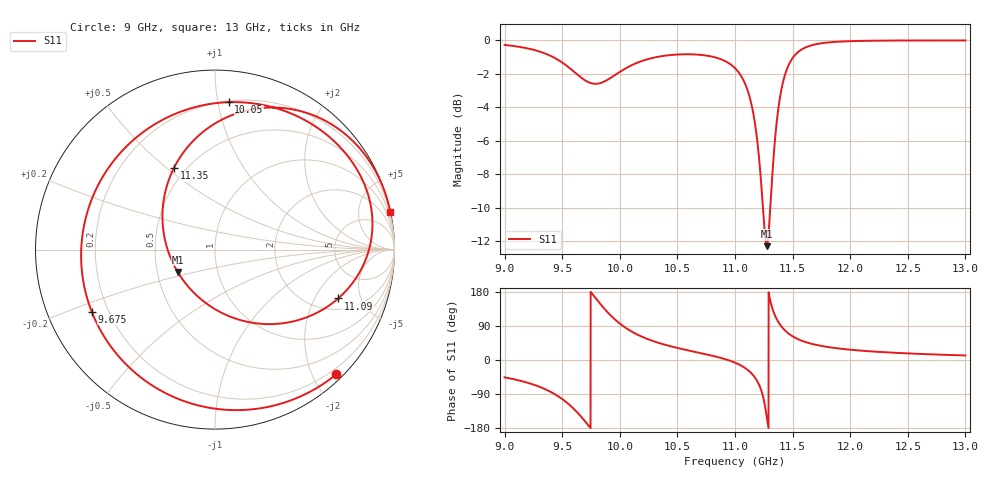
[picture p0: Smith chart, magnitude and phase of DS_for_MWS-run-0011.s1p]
! TOUCHSTONE file generated by CST DESIGN STUDIO
! Date and time: Wed Feb  5 13:36:22 2025
! Project name: C:\Work\MatlabApps\UnitCellOptimizationMatlab\CST\unitcell.cst
! Tree item: Tasks\Sweep1\SPara1\S-Parameters
! Header version: 2024
! Port assignment regex: !\s*Touchstone port\s*([0-9]+)\s*=\s*(CST MWS port|CST DES external port|CST DES block port)\s*(.+)\s* \(\"(.*)\"\)(\s*mode\s*([0-9]+))?.*
! Touchstone port assignment:
! Touchstone port 1 = CST DES external port 1 ("")
# GHz S MA R 50
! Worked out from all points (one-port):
!   4001 points, 9 GHz to 13 GHz, reference 50 ohm
!   lowest |S11| = -12.3 dB at 11.28 GHz (marker M1), VSWR 1.64, Z = 31.9 - j8.51 ohm
!   |S11| at or under -10 dB: 11.24 GHz to 11.31 GHz (64.23 MHz wide, 0.57 % of centre)
!   S11 on the Smith chart (normalised r, x): 9 GHz: 0.10, -2.36; 9.675 GHz: 0.14, -0.23; 10.05 GHz: 0.21, +1.08; 11.09 GHz: 2.64, -3.16; 11.35 GHz: 0.43, +0.53; 13 GHz: 0.03, +9.53
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9  0.969 -45.8
9.273  0.9327 -67.3
9.403  0.8976 -84.7
9.5  0.8585 -103.0
9.588  0.8136 -125.3
9.675  0.769 -153.3
9.741  0.7465 -177.9
9.807  0.742 156.8
9.903  0.7656 123.1
10  0.8047 96.2
10.052  0.825 84.7
10.25  0.88 54.2
10.5  0.9071 31.8
10.788  0.8959 12.3
11  0.8258 -7.0
11.09  0.7384 -21.6
11.148  0.6318 -36.9
11.202  0.4701 -60.9
11.239  0.3278 -91.2
11.275  0.2423 -148.8
11.311  0.3361 150.5
11.348  0.5087 116.8
11.413  0.7406 84.8
11.5  0.8853 62.5
11.682  0.9701 41.5
12  0.9944 27.2
12.5  0.9991 17.4
13  0.9993 12.0
